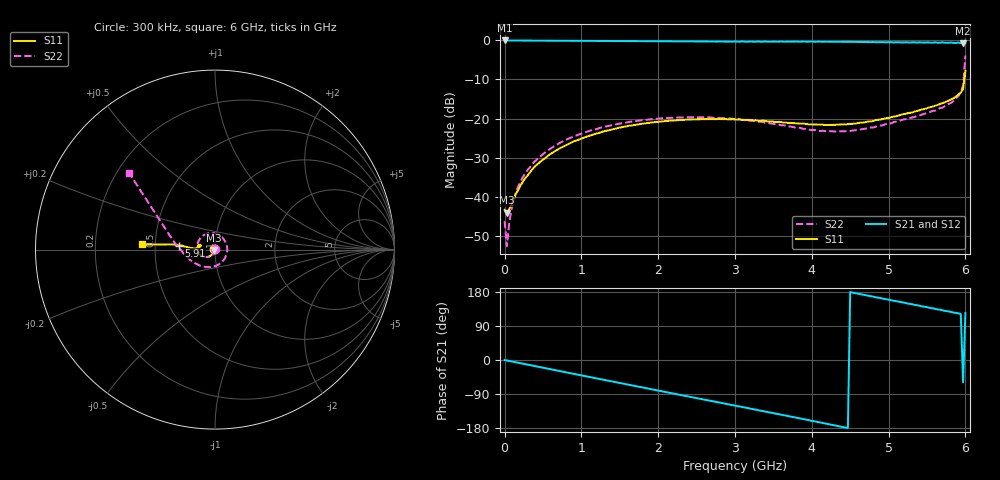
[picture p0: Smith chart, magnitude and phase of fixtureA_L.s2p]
# Hz S RI R 50
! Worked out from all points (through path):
!   201 points, 300 kHz to 6 GHz, reference 50 ohm
!   highest |S21| = -0.01 dB at 300 kHz (marker M1); lowest = -0.7 dB at 5.97 GHz (marker M2)
!   lowest |S11| = -44.1 dB at 30.3 MHz (marker M3), VSWR 1.01, Z = 49.4 - j0.169 ohm
!   |S11| at or under -10 dB: start of sweep to 5.986 GHz
!   |S22| runs from -52.7 to -3.9 dB; largest |S21 - S12| = 5e-16
!   S11 on the Smith chart (normalised r, x): 300 kHz: 0.99, +0.00; 5.91 GHz: 0.66, +0.03; 6 GHz: 0.42, +0.03
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300000  -0.00673 0.000614  0.9994 -0.000964  0.9994 -0.000964  -0.00208 0.00439
3.02985e7  -0.00596 -0.00171  0.999 -0.0224  0.999 -0.0224  -0.000124 -0.00232
6.0297e7  -0.00608 -0.00325  0.9977 -0.0443  0.9977 -0.0443  -0.000324 -0.00452
9.02955e7  -0.00639 -0.00481  0.9961 -0.0656  0.9961 -0.0656  -0.000744 -0.00692
1.502925e8  -0.00717 -0.00841  0.9915 -0.1086  0.9915 -0.1086  -0.00181 -0.0114
2.40288e8  -0.00853 -0.0131  0.9814 -0.1718  0.9814 -0.1718  -0.00467 -0.0173
3.60282e8  -0.0113 -0.0191  0.962 -0.2541  0.962 -0.2541  -0.009 -0.0245
5.40273e8  -0.0167 -0.0269  0.9193 -0.3735  0.9193 -0.3735  -0.0183 -0.033
1.020249e9  -0.0393 -0.0403  0.7394 -0.6526  0.7394 -0.6526  -0.0507 -0.0408
1.500225e9  -0.0658 -0.0391  0.481 -0.8565  0.481 -0.8565  -0.0827 -0.0239
2.0102e9  -0.0878 -0.0238  0.1508 -0.9645  0.1508 -0.9645  -0.0989 0.015
2.490176e9  -0.0977 -0.00336  -0.1719 -0.9555  -0.1719 -0.9555  -0.0859 0.0581
3.00015e9  -0.0957 0.0158  -0.4902 -0.8373  -0.4902 -0.8373  -0.042 0.0877
3.510124e9  -0.0871 0.0253  -0.75 -0.6119  -0.75 -0.6119  0.0155 0.0834
4.020099e9  -0.0805 0.0236  -0.9135 -0.3055  -0.9135 -0.3055  0.0599 0.0387
4.500075e9  -0.0841 0.0148  -0.959 0.0142  -0.959 0.0142  0.0642 -0.0263
5.01005e9  -0.1018 0.00719  -0.8871 0.3433  -0.8871 0.3433  0.0157 -0.0846
5.61002e9  -0.1456 0.0105  -0.6664 0.6714  -0.6664 0.6714  -0.0972 -0.0808
5.910004e9  -0.2018 0.0223  -0.5114 0.789  -0.5114 0.789  -0.1947 0.00507
5.940003e9  -0.2127 0.0258  -0.4803 0.7905  -0.4803 0.7905  -0.2184 0.0294
5.970002e9  -0.2367 0.0287  0.4777 -0.7899  0.4777 -0.7899  -0.252 0.0783
6e9  -0.4066 0.0285  -0.5179 0.7689  -0.5179 0.7689  -0.4786 0.427
